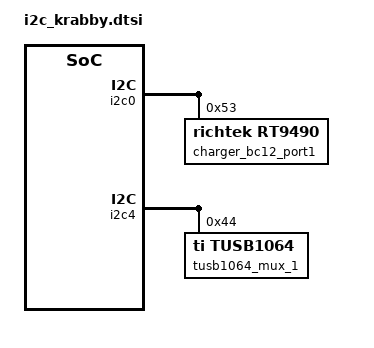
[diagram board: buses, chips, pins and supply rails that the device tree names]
/* Copyright 2021 The ChromiumOS Authors
 * Use of this source code is governed by a BSD-style license that can be
 * found in the LICENSE file.
 */

#include "ite_i2c.dtsi"

&i2c0 {
	charger_bc12_port1: rt9490@53 {
		compatible = "richtek,rt9490";
		status = "okay";
		reg = <0x53>;
		irq = <&int_usb_c1_bc12_charger>;
	};
};

&i2c4 {
	tusb1064_mux_1: tusb1064-mux-1@44 {
		compatible = "ti,tusb1064";
		reg = <0x44>;
		board-init = "tusb1064_mux_1_board_init";
	};
};
